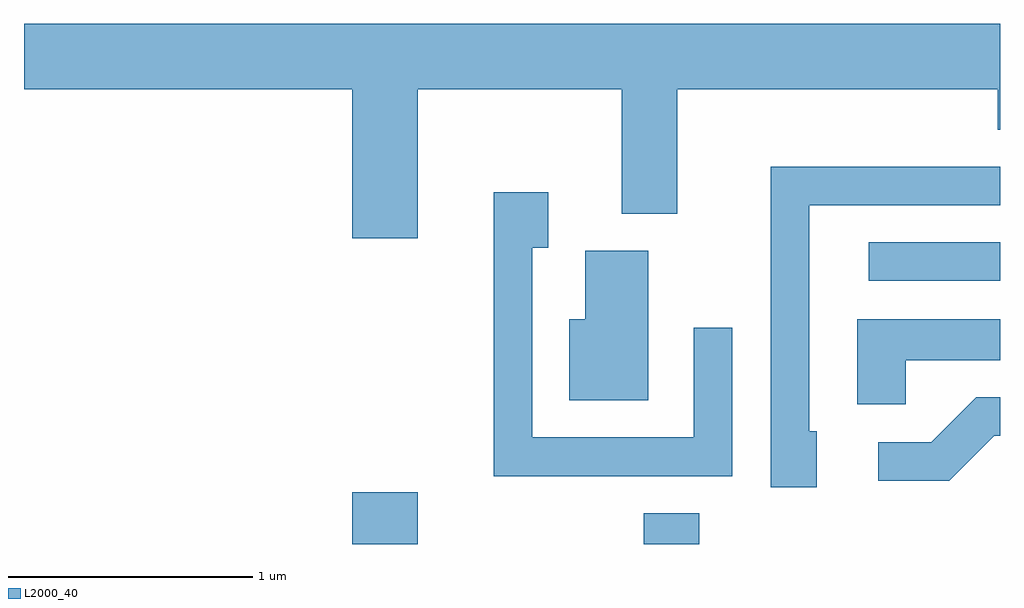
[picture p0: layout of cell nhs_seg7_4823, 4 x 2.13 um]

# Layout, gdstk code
import gdstk
lib = gdstk.Library(unit=1e-6, precision=1e-09)
def R(c, l, rs):  # rectangles x0, y0, x1, y1
    for r in rs: c.add(gdstk.rectangle(r[:2], r[2:], *l))
def P(c, l, *ps):  # polygons
    for p in ps: c.add(gdstk.Polygon(p, *l))
L2000_40 = (2000, 40)

nhs_seg7_4823 = lib.new_cell('nhs_seg7_4823')
R(nhs_seg7_4823, L2000_40, [(334.956,1690.252,335.224,1690.464), (336.151,1690.252,336.379,1690.379), (337.073,1691.331,337.611,1691.489)])
P(nhs_seg7_4823, L2000_40, [(335.224,1692.116),(336.061,1692.116),(336.061,1691.606),(336.289,1691.606),(336.289,1692.116),(337.601,1692.116),(337.601,1691.951),(337.611,1691.951),(337.611,1692.384),(333.611,1692.384),(333.611,1692.116),(334.956,1692.116),(334.956,1691.506),(335.224,1691.506)],
  [(336.859,1690.714),(336.829,1690.714),(336.829,1691.641),(337.611,1691.641),(337.611,1691.799),(336.671,1691.799),(336.671,1690.486),(336.859,1690.486)],
  [(336.514,1691.138),(336.356,1691.138),(336.356,1690.689),(335.694,1690.689),(335.694,1691.466),(335.759,1691.466),(335.759,1691.694),(335.536,1691.694),(335.536,1690.531),(336.514,1690.531)],
  [(336.169,1691.454),(335.911,1691.454),(335.911,1691.174),(335.846,1691.174),(335.846,1690.841),(336.169,1690.841)],
  [(337.224,1691.006),(337.611,1691.006),(337.611,1691.174),(337.026,1691.174),(337.026,1690.826),(337.224,1690.826)],
  [(337.587,1690.696),(337.611,1690.696),(337.611,1690.854),(337.514,1690.854),(337.329,1690.669),(337.113,1690.669),(337.113,1690.511),(337.402,1690.511)])

lib.write_gds('nhs_seg7_4823.gds')
